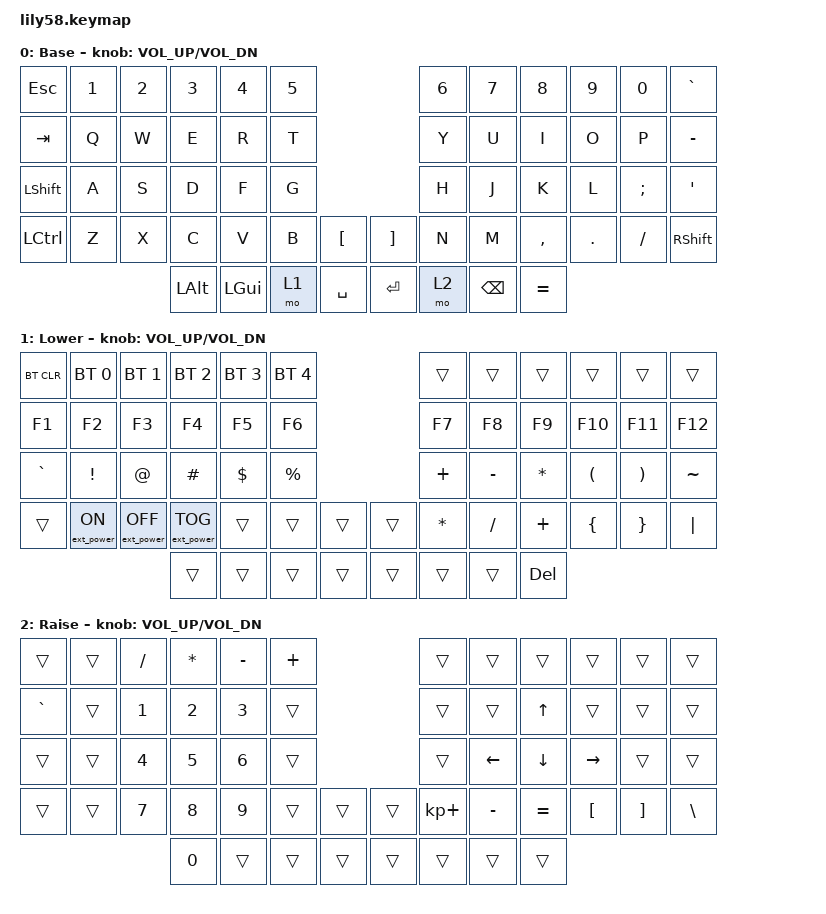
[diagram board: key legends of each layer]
/*
 * Copyright (c) 2020 The ZMK Contributors
 *
 * SPDX-License-Identifier: MIT
 */

#include <behaviors.dtsi>
#include <dt-bindings/zmk/keys.h>
#include <dt-bindings/zmk/bt.h>
#include <dt-bindings/zmk/ext_power.h>

/ {
    keymap {
        compatible = "zmk,keymap";

        default_layer {
            display-name = "Base";
// ------------------------------------------------------------------------------------------------------------
// |  ESC  |  1  |  2  |  3   |  4   |  5   |                   |  6   |  7    |  8    |  9   |   0   |   `   |
// |  TAB  |  Q  |  W  |  E   |  R   |  T   |                   |  Y   |  U    |  I    |  O   |   P   |   -   |
// |  SHIFT|  A  |  S  |  D   |  F   |  G   |                   |  H   |  J    |  K    |  L   |   ;   |   '   |
// |  CTRL |  Z  |  X  |  C   |  V   |  B   |   "["  |  |  "]"  |  N   |  M    |  ,    |  .   |   /   | SHIFT |
//                     | ALT  | GUI  | LOWER|  SPACE |  | ENTER | RAISE| BSPC  | =   |
            bindings = <
&kp ESC   &kp N1 &kp N2 &kp N3   &kp N4   &kp N5                     &kp N6 &kp N7   &kp N8    &kp N9  &kp N0   &kp GRAVE
&kp TAB   &kp Q  &kp W  &kp E    &kp R    &kp T                      &kp Y  &kp U    &kp I     &kp O   &kp P    &kp MINUS
&kp LSHFT &kp A  &kp S  &kp D    &kp F    &kp G                      &kp H  &kp J    &kp K     &kp L   &kp SEMI &kp SQT
&kp LCTRL &kp Z  &kp X  &kp C    &kp V    &kp B  &kp LBKT   &kp RBKT &kp N  &kp M    &kp COMMA &kp DOT &kp FSLH &kp RSHFT
                        &kp LALT &kp LGUI &mo 1  &kp SPACE  &kp RET  &mo 2  &kp BSPC &kp EQUAL
            >;

            sensor-bindings = <&inc_dec_kp C_VOL_UP C_VOL_DN>;
        };

        lower_layer {
            display-name = "Lower";
// ------------------------------------------------------------------------------------------------------------
// | BTCLR | BT1 | BT2 |  BT3 |  BT4 |  BT5 |                   |      |       |       |      |       |       |
// |  F1   |  F2 |  F3 |  F4  |  F5  |  F6  |                   |  F7  |  F8   |  F9   |  F10 |  F11  |  F12  |
// |   `   |  !  |  @  |  #   |  $   |  %   |                   |  +   |  -   |  *    |  (   |   )   |   ~   |
// |       |     |     |      |      |      |        |  |       |   *    |  /   |  +    |  {   |   }   |  "|"  |
//                     |      |      |      |        |  |       |      |       |  DEL     |
            bindings = <
&bt BT_CLR &bt BT_SEL 0     &bt BT_SEL 1      &bt BT_SEL 2      &bt BT_SEL 3 &bt BT_SEL 4                 &trans    &trans    &trans    &trans    &trans    &trans
&kp F1     &kp F2           &kp F3            &kp F4            &kp F5       &kp F6                       &kp F7    &kp F8    &kp F9    &kp F10   &kp F11   &kp F12
&kp GRAVE  &kp EXCL         &kp AT            &kp HASH          &kp DOLLAR   &kp PRCNT                    &kp PLUS  &kp MINUS   &kp ASTRK &kp LPAR  &kp RPAR  &kp TILDE
&trans     &ext_power EP_ON &ext_power EP_OFF &ext_power EP_TOG &trans       &trans    &trans   &trans    &kp ASTRK    &kp FSLH &kp PLUS  &kp LBRC  &kp RBRC  &kp PIPE
                                              &trans            &trans       &trans    &trans   &trans    &trans    &trans    &kp DEL
            >;

            sensor-bindings = <&inc_dec_kp C_VOL_UP C_VOL_DN>;
        };

        raise_layer {
            display-name = "Raise";
// ------------------------------------------------------------------------------------------------------------
// |       |     |   /  |  *  |  -  |  +   |                   |      |       |       |      |       |       |
// |   `   |     |  1   |  2  |  3  |     |                   |      |       |    ^   |      |       |       |
// |       |     |  4   |  5  |  6  |     |                   |      |   <-  |   v   |  ->   |    |       |
// |       |     |  7   |  8  |  9  |     |        |  |       |  +   |   -   |   =   |  [   |   ]   |   \   |
//                     |  0   |     |     |        |  |       |      |       |       |
            bindings = <
&trans    &trans &kp FSLH &kp ASTRK  &kp MINUS  &kp PLUS                    &trans      &trans    &trans    &trans    &trans    &trans
&kp GRAVE &trans &kp N1   &kp N2     &kp N3     &trans                      &trans      &trans    &kp UP    &trans    &trans    &trans
&trans    &trans &kp N4   &kp N5     &kp N6     &trans                      &trans      &kp LEFT  &kp DOWN  &kp RIGHT &trans    &trans
&trans    &trans &kp N7   &kp N8     &kp N9     &trans   &trans   &trans    &kp KP_PLUS &kp MINUS &kp EQUAL &kp LBKT &kp RBKT  &kp BSLH
                          &kp N0     &trans     &trans   &trans   &trans    &trans      &trans    &trans
            >;

            sensor-bindings = <&inc_dec_kp C_VOL_UP C_VOL_DN>;
        };
    };
};
